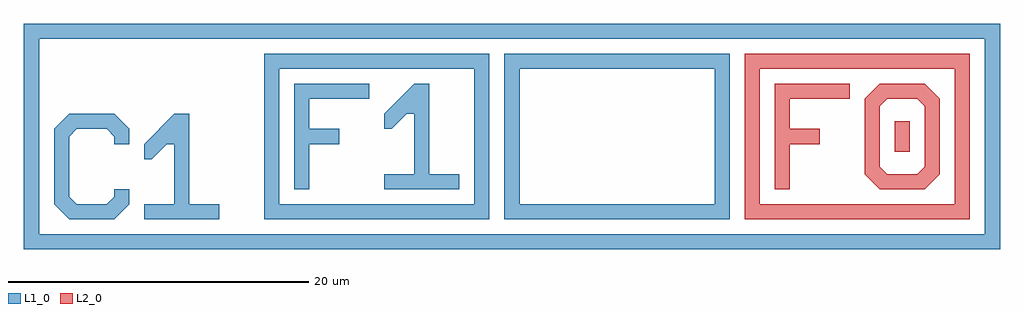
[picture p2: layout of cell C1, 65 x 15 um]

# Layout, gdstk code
import gdstk
lib = gdstk.Library(unit=1e-6, precision=5e-09)
def R(c, l, rs):  # rectangles x0, y0, x1, y1
    for r in rs: c.add(gdstk.rectangle(r[:2], r[2:], *l))
def P(c, l, *ps):  # polygons
    for p in ps: c.add(gdstk.Polygon(p, *l))
L1_0 = (1, 0)
L2_0 = (2, 0)

text_2_1_1 = lib.new_cell('TEXT$2$1$1')
P(text_2_1_1, L1_0, [(1,0),(0,1),(0,6),(1,7),(4,7),(5,6),(5,5),(4,5),(4,5.5),(3.5,6),(1.5,6),(1,5.5),(1,1.5),(1.5,1),(3.5,1),(4,1.5),(4,2),(5,2),(5,1),(4,0)],
  [(6,0),(6,1),(8,1),(8,5),(7.5,5),(6.5,4),(6,4),(6,5),(8,7),(9,7),(9,1),(11,1),(11,0)])

text_5 = lib.new_cell('TEXT$5')
P(text_5, L1_0, [(0,0),(0,7),(5,7),(5,6),(1,6),(1,4),(3,4),(3,3),(1,3),(1,0)],
  [(6,0),(6,1),(8,1),(8,5),(7.5,5),(6.5,4),(6,4),(6,5),(8,7),(9,7),(9,1),(11,1),(11,0)])

f1_1_1 = lib.new_cell('F1$1$1')
f1_1_1.add(gdstk.FlexPath([(0.5,0.5),(0.5,10.5),(14.5,10.5),(14.5,0.5),(0.5,0.5)], 1, ends="extended", simple_path=True, layer=1, datatype=0))  # L1_0
f1_1_1.add(gdstk.Reference(text_5, (2,2)))

d1_1 = lib.new_cell('D1$1')
d1_1.add(gdstk.FlexPath([(0.5,0.5),(0.5,10.5),(14.5,10.5),(14.5,0.5),(0.5,0.5)], 1, ends="extended", simple_path=True, layer=1, datatype=0))  # L1_0
d1_1.add(gdstk.FlexPath([(0.5,0.5),(0.5,10.5),(14.5,10.5),(14.5,0.5),(0.5,0.5)], 1, ends="extended", simple_path=True, layer=1, datatype=0))  # L1_0
d1_1.add(gdstk.FlexPath([(0.5,0.5),(0.5,10.5),(14.5,10.5),(14.5,0.5),(0.5,0.5)], 1, ends="extended", simple_path=True, layer=1, datatype=0))  # L1_0
d1_1.add(gdstk.FlexPath([(0.5,0.5),(0.5,10.5),(14.5,10.5),(14.5,0.5),(0.5,0.5)], 1, ends="extended", simple_path=True, layer=1, datatype=0))  # L1_0
d1_1.add(gdstk.FlexPath([(0.5,0.5),(0.5,10.5),(14.5,10.5),(14.5,0.5),(0.5,0.5)], 1, ends="extended", simple_path=True, layer=1, datatype=0))  # L1_0
d1_1.add(gdstk.FlexPath([(0.5,0.5),(0.5,10.5),(14.5,10.5),(14.5,0.5),(0.5,0.5)], 1, ends="extended", simple_path=True, layer=1, datatype=0))  # L1_0
d1_1.add(gdstk.FlexPath([(0.5,0.5),(0.5,10.5),(14.5,10.5),(14.5,0.5),(0.5,0.5)], 1, ends="extended", simple_path=True, layer=1, datatype=0))  # L1_0
d1_1.add(gdstk.FlexPath([(0.5,0.5),(0.5,10.5),(14.5,10.5),(14.5,0.5),(0.5,0.5)], 1, ends="extended", simple_path=True, layer=1, datatype=0))  # L1_0

text = lib.new_cell('TEXT')
R(text, L2_0, [(8,2.5,9,4.5)])
P(text, L2_0, [(0,0),(0,7),(5,7),(5,6),(1,6),(1,4),(3,4),(3,3),(1,3),(1,0)],
  [(7,0),(6,1),(6,6),(7,7),(10,7),(11,6),(7.5,6),(7,5.5),(7,1.5),(7.5,1),(9.5,1),(10,1.5),(10,5.5),(9.5,6),(11,6),(11,1),(10,0)])

f0_1_1 = lib.new_cell('F0$1$1')
f0_1_1.add(gdstk.FlexPath([(0.5,0.5),(0.5,10.5),(14.5,10.5),(14.5,0.5),(0.5,0.5)], 1, ends="extended", simple_path=True, layer=2, datatype=0))  # L2_0
f0_1_1.add(gdstk.Reference(text, (2,2)))

c_c1 = lib.new_cell('C1')
c_c1.add(gdstk.FlexPath([(0.5,0.5),(0.5,14.5),(64.5,14.5),(64.5,0.5),(0.5,0.5)], 1, ends="extended", simple_path=True, layer=1, datatype=0))  # L1_0
c_c1.add(gdstk.Reference(text_2_1_1, (2,2)))
c_c1.add(gdstk.Reference(f1_1_1, (16,2)))
c_c1.add(gdstk.Reference(d1_1, (32,2)))
c_c1.add(gdstk.Reference(f0_1_1, (48,2)))

lib.write_gds('C1.gds')
